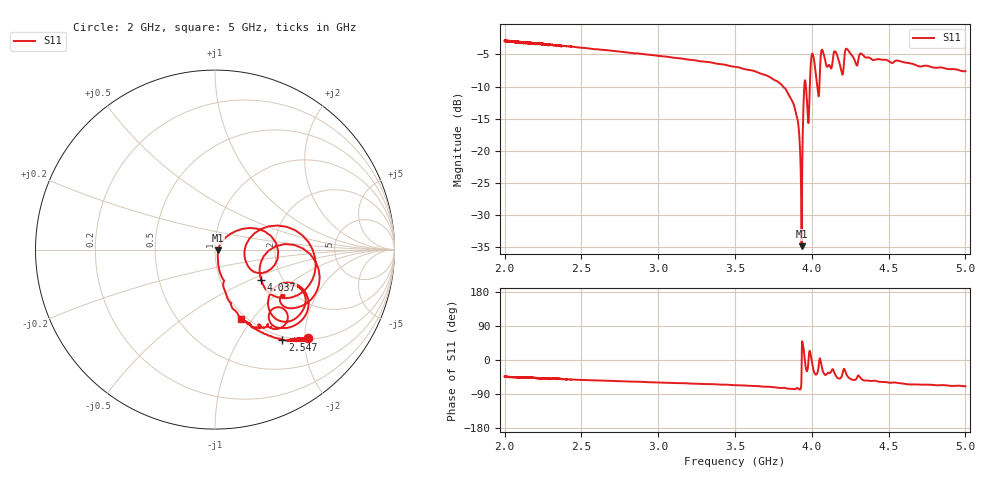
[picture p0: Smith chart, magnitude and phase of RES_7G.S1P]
!Agilent Technologies,E5071C,MY46214220,A.11.31
!Date: Fri Sep 22 12:39:47 2017
!Data & Calibration Information:
!Freq	S11:SOLT1(ON)
!PortZ  Port1:50+j0
!Above PortZ is port z conversion or system Z0 setting when saving the data.
!When reading, reference impedance value at option line is always used.
# Hz S dB R 50
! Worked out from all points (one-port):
!   10000 points, 2 GHz to 5 GHz, reference 50 ohm
!   lowest |S11| = -34.9 dB at 3.934 GHz (marker M1), VSWR 1.04, Z = 51.8 - j0.455 ohm
!   |S11| at or under -10 dB: 3.812 GHz to 3.951 GHz (138.8 MHz wide, 3.58 % of centre); 3.962 GHz to 3.987 GHz (25.18 MHz wide, 0.634 % of centre); 4.035898 GHz to 4.049432 GHz (13.53 MHz wide, 0.335 % of centre)
!   S11 on the Smith chart (normalised r, x): 2 GHz: 1.02, -2.07; 2.547 GHz: 0.95, -1.56; 4.037 GHz: 1.56, -0.59; 5 GHz: 0.94, -0.89
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2e9  -2.91 -43.8
2.375038e9  -3.68 -50.7
2.547255e9  -4.06 -53.3
2.750075e9  -4.56 -56.0
3.125113e9  -5.57 -61.1
3.50015e9  -6.93 -66.5
3.777978e9  -9.24 -73.1
3.875188e9  -12.41 -76.4
3.907591e9  -15.15 -74.4
3.924092e9  -20.20 -78.0
3.933693e9  -34.89 -14.1
3.954395e9  -9.10 0.8
3.977798e9  -15.70 -5.3
4.0024e9  -4.89 -10.3
4.018902e9  -6.60 -35.4
4.036904e9  -10.20 -33.3
4.051605e9  -8.56 4.4
4.068107e9  -4.29 -24.3
4.09751e9  -6.90 -36.8
4.129613e9  -7.00 -27.4
4.165017e9  -5.12 -46.4
4.188419e9  -7.13 -47.3
4.206121e9  -7.35 -25.5
4.223822e9  -4.11 -36.4
4.250225e9  -4.81 -49.5
4.29703e9  -6.61 -43.6
4.625263e9  -6.33 -64.1
5e9  -7.62 -69.4
